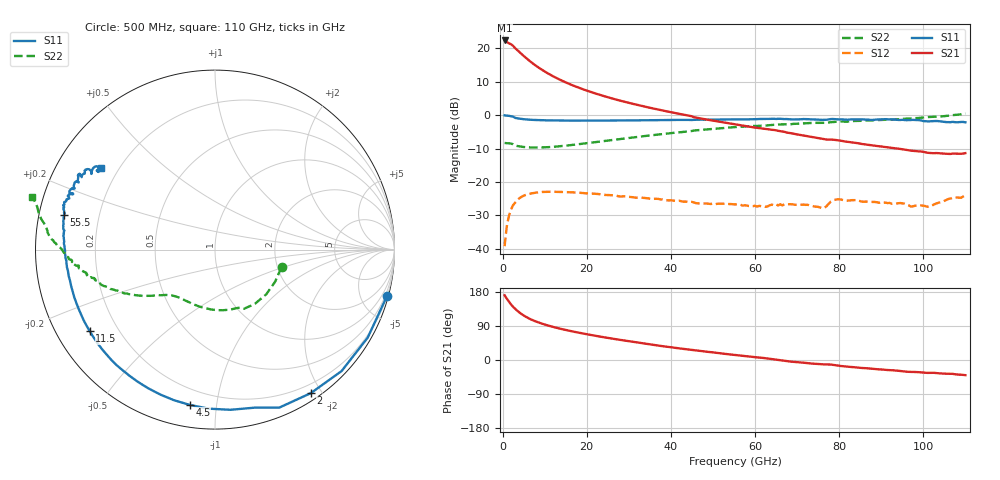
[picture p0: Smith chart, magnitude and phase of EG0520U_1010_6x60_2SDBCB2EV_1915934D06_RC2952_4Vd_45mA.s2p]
!File name = EG0520U_1010_6x60_2SDBCB2EV_1915934D06_RC2952_4Vd_45mA.s2p
!Base file name = EG0520U_1010_6x60_2SDBCB2EV_1915934D06_RC2952
!Date = 8/23/2019
!Time = 1:17 PM
!Test duration(min) = 0.15
!Test = S-Parameters
!MPTS version = 8.91.5
!State File = C:\Data\PNA\20190821205423\S-Parameters_2019-08-23.sta
!Cal File =
!ComputerName = CMPE-LAB-6
!Comments =
!Attenuation = 0
!Z0 = 50
!Input Power(dBm) = -13.00
!Device ID = EG0520U_1010_6x60_2SDBCB2EV
!Row = 29
!Column = 52
!Technology = QPHT09
!Lot/Wafer = 1915934D06
!Gate Size = 360
!Mask = EG0520
!Cal Standards = GaAs BCB
!Cal Kit = EG2306
!Job Number = 20190821205423
!Device Type = FET
!set_Vg(v) = -1.500
!set_Vd(v) = 4.000
!set_Vd(mA) = 45.000
!file_name = EG0520U_1010_6x60_2SDBCB2EV_1915934D06_RC2952_4Vd_45mA.s2p
!Vd(V) = 4.000
!Vd(mA) = 45.068
!Vg(V) = -0.486
!Vg(mA) = -0.003
# GHz  S  DB  R  50
!%	Freq(GHz)  s11(dB)  s11(deg)  s21(dB)  s21(deg)  s12(dB)  s12(deg)  s22(dB)  s22(deg)
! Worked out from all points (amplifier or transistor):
!   220 points, 500 MHz to 110 GHz, reference 50 ohm
!   highest |S21| = 22.3 dB at 500 MHz (marker M1)
!   |S21| within 3 dB of that: start of sweep to 3.611 GHz
!   unconditionally stable (mu >= 1): 30.24 GHz to 101.5 GHz
!   at 18.5 GHz: K = 0.58, MSG = 15.6 dB, |S12| = -23.2 dB
!   at 55.5 GHz: K = 1.62, MAG = 7.3 dB, |S12| = -26.7 dB
!   at 110 GHz: K = -2.19, MSG = 6.3 dB, |S12| = -23.9 dB
!   S11 on the Smith chart (normalised r, x): 500 MHz: 0.22, -7.51; 2 GHz: 0.09, -1.86; 4.5 GHz: 0.11, -0.84; 11.5 GHz: 0.10, -0.29; 55.5 GHz: 0.08, +0.11; 110 GHz: 0.14, +0.32
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0.5  -0.07 -15.2  22.33 170.7  -39.20 80.7  -8.33 -14.8
1  -0.16 -29.9  21.87 162.1  -33.43 73.0  -8.41 -28.1
2  -0.34 -56.3  21.21 147.0  -28.31 58.7  -8.52 -53.6
2.5  -0.44 -67.9  20.74 140.4  -26.96 52.9  -8.70 -63.8
3  -0.83 -75.6  20.04 135.2  -26.17 48.5  -9.12 -67.9
3.5  -0.95 -84.5  19.46 130.1  -25.43 44.0  -9.25 -75.7
4.5  -1.14 -99.2  18.30 121.4  -24.46 36.6  -9.44 -88.8
5  -1.21 -105.4  17.73 117.7  -24.13 33.6  -9.53 -94.1
6  -1.33 -115.7  16.65 111.3  -23.67 28.6  -9.64 -102.9
7.5  -1.45 -127.5  15.17 103.5  -23.27 22.8  -9.69 -112.6
9.5  -1.53 -138.7  13.46 95.5  -22.98 17.2  -9.66 -120.6
11.5  -1.59 -146.9  11.97 88.8  -22.92 13.0  -9.54 -126.5
15  -1.64 -157.0  9.80 79.3  -23.03 8.1  -9.15 -133.0
19  -1.65 -164.8  7.78 70.1  -23.29 4.1  -8.55 -137.4
26.5  -1.61 -174.3  4.82 55.6  -24.01 0.6  -7.36 -143.2
37  -1.49 177.6  1.66 38.1  -25.07 1.2  -5.80 -150.4
55.5  -1.29 167.2  -2.80 12.9  -26.70 9.1  -3.56 -163.0
73.5  -1.28 159.0  -6.54 -9.4  -27.18 9.2  -2.32 -172.2
79.5  -1.22 157.0  -7.49 -14.5  -25.20 13.5  -1.98 -174.5
92  -1.29 150.8  -9.72 -26.7  -26.27 -2.7  -1.36 179.8
101  -1.86 148.5  -11.26 -34.0  -27.44 -0.8  -0.62 174.8
110  -2.15 144.2  -11.37 -40.0  -23.88 -4.2  0.50 164.1
